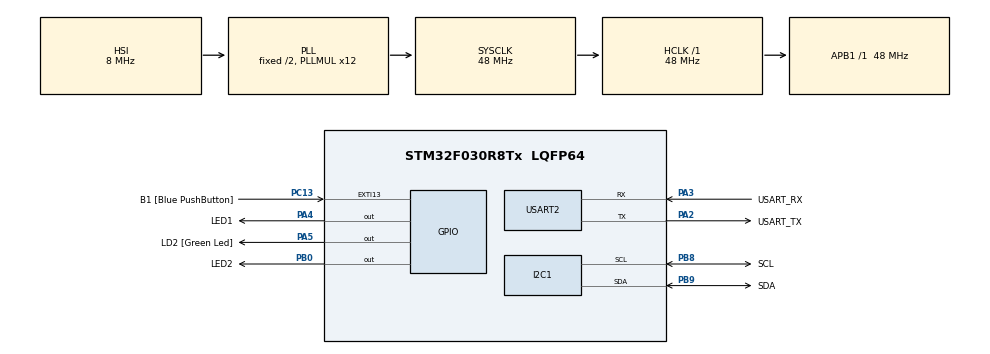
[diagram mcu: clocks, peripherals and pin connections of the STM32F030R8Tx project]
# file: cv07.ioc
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FREERTOS.Queues01=xVisualQueue,16,uint16_t,0,Dynamic,NULL,NULL
FREERTOS.Tasks01=defaultTask,0,128,StartDefaultTask,Default,NULL,Dynamic,NULL,NULL;VisualTask,0,128,StartVisualTask,Default,NULL,Dynamic,NULL,NULL;AcceleroTask,0,128,StartAcceleroTask,Default,NULL,Dynamic,NULL,NULL
FREERTOS.configUSE_NEWLIB_REENTRANT=1
Mcu.Family=STM32F0
Mcu.Name=STM32F030R8Tx
Mcu.Package=LQFP64
NVIC.TIM14_IRQn=true\:3\:0\:false\:false\:true\:false\:false\:true
NVIC.TimeBase=TIM14_IRQn
NVIC.TimeBaseIP=TIM14
PA13.GPIO_Label=TMS
PA13.Mode=Serial_Wire
PA13.Signal=SYS_SWDIO
PA14.GPIO_Label=TCK
PA14.Mode=Serial_Wire
PA14.Signal=SYS_SWCLK
PA2.GPIO_Label=USART_TX
PA2.GPIO_Mode=GPIO_MODE_AF_PP
PA2.GPIO_PuPd=GPIO_NOPULL
PA2.GPIO_Speed=GPIO_SPEED_FREQ_LOW
PA2.Mode=Asynchronous
PA2.Signal=USART2_TX
PA3.GPIO_Label=USART_RX
PA3.GPIO_Mode=GPIO_MODE_AF_PP
PA3.GPIO_PuPd=GPIO_NOPULL
PA3.GPIO_Speed=GPIO_SPEED_FREQ_LOW
PA3.Mode=Asynchronous
PA3.Signal=USART2_RX
PA4.GPIO_Label=LED1
PA4.Signal=GPIO_Output
PA5.GPIO_Label=LD2 [Green Led]
PA5.GPIO_Mode=GPIO_MODE_OUTPUT_PP
PA5.GPIO_PuPd=GPIO_NOPULL
PA5.GPIO_Speed=GPIO_SPEED_FREQ_LOW
PA5.Signal=GPIO_Output
PB0.GPIO_Label=LED2
PB0.Signal=GPIO_Output
PB8.GPIO_Label=SCL
PB8.Mode=I2C
PB8.Signal=I2C1_SCL
PB9.GPIO_Label=SDA
PB9.Mode=I2C
PB9.Signal=I2C1_SDA
PC13.GPIO_Label=B1 [Blue PushButton]
PC13.GPIO_ModeDefaultEXTI=GPIO_MODE_IT_FALLING
PC13.Signal=GPXTI13
PC14-OSC32_IN.Mode=LSE-External-Oscillator
PC14-OSC32_IN.Signal=RCC_OSC32_IN
PC15-OSC32_OUT.Mode=LSE-External-Oscillator
PC15-OSC32_OUT.Signal=RCC_OSC32_OUT
PF0-OSC_IN.Mode=HSE-External-Clock-Source
PF0-OSC_IN.Signal=RCC_OSC_IN
PF1-OSC_OUT.Signal=RCC_OSC_OUT
ProjectManager.HeapSize=0x200
ProjectManager.StackSize=0x400
ProjectManager.TargetToolchain=STM32CubeIDE
RCC.AHBFreq_Value=48000000
RCC.APB1Freq_Value=48000000
RCC.APB1TimFreq_Value=48000000
RCC.HCLKFreq_Value=48000000
RCC.PLLMUL=RCC_PLL_MUL12
RCC.SYSCLKFreq_VALUE=48000000
RCC.SYSCLKSource=RCC_SYSCLKSOURCE_PLLCLK
USART2.VirtualMode-Asynchronous=VM_ASYNC
VP_FREERTOS_VS_CMSIS_V1.Mode=CMSIS_V1
VP_SYS_VS_tim14.Mode=TIM14
board=NUCLEO-F030R8

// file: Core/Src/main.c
/* USER CODE BEGIN Header */
/**
 ******************************************************************************
 * @file           : main.c
 * @brief          : Main program body
 ******************************************************************************
 * @attention
 *
 * <h2><center>&copy; Copyright (c) 2021 STMicroelectronics.
 * All rights reserved.</center></h2>
 *
 * This software component is licensed by ST under BSD 3-Clause license,
 * the "License"; You may not use this file except in compliance with the
 * License. You may obtain a copy of the License at:
 *                        opensource.org/licenses/BSD-3-Clause
 *
 ******************************************************************************
 */
/* USER CODE END Header */
#include "main.h"
#include "cmsis_os.h"

/* USER CODE BEGIN Includes */
#include "lis2dw12_reg.h"
#include <stdio.h>
/* USER CODE END Includes */

I2C_HandleTypeDef hi2c1;

UART_HandleTypeDef huart2;

osThreadId defaultTaskHandle;
osThreadId VisualTaskHandle;
osThreadId AcceleroTaskHandle;
osMessageQId xVisualQueueHandle;

void SystemClock_Config(void);
static void MX_GPIO_Init(void);
static void MX_USART2_UART_Init(void);
static void MX_I2C1_Init(void);
void StartDefaultTask(void const * argument);
void StartVisualTask(void const * argument);
void StartAcceleroTask(void const * argument);

/* USER CODE BEGIN 0 */
static int32_t platform_write(void *handle, uint8_t reg, uint8_t *bufp, uint16_t len);
static int32_t platform_read(void *handle, uint8_t reg, uint8_t *bufp, uint16_t len);
static stmdev_ctx_t lis2dw12 = {
		.write_reg = platform_write,
		.read_reg = platform_read,
		.handle = &hi2c1,
};

static int32_t platform_write(void *handle, uint8_t reg, uint8_t *bufp, uint16_t len)
{
	HAL_I2C_Mem_Write(handle, LIS2DW12_I2C_ADD_H, reg, I2C_MEMADD_SIZE_8BIT, bufp, len, 1000);
	return 0;
}

static int32_t platform_read(void *handle, uint8_t reg, uint8_t *bufp, uint16_t len)
{
	HAL_I2C_Mem_Read(handle, LIS2DW12_I2C_ADD_H, reg, I2C_MEMADD_SIZE_8BIT, bufp, len, 1000);
	return 0;
}

int _write(int file, char const *buf, int n)
{
	/* stdout redirection to UART2 */
	HAL_UART_Transmit(&huart2, (uint8_t*)(buf), n, HAL_MAX_DELAY);
	return n;
}

/* USER CODE END 0 */

int main(void)
{

	/* MCU Configuration--------------------------------------------------------*/

	/* Reset of all peripherals, Initializes the Flash interface and the Systick. */
	HAL_Init();

	/* Configure the system clock */
	SystemClock_Config();

	/* Initialize all configured peripherals */
	MX_GPIO_Init();
	MX_USART2_UART_Init();
	MX_I2C1_Init();

	/* Create the queue(s) */
	/* definition and creation of xVisualQueue */
	osMessageQDef(xVisualQueue, 16, uint16_t);
	xVisualQueueHandle = osMessageCreate(osMessageQ(xVisualQueue), NULL);

	/* Create the thread(s) */
	/* definition and creation of defaultTask */
	osThreadDef(defaultTask, StartDefaultTask, osPriorityNormal, 0, 128);
	defaultTaskHandle = osThreadCreate(osThread(defaultTask), NULL);

	/* definition and creation of VisualTask */
	osThreadDef(VisualTask, StartVisualTask, osPriorityNormal, 0, 128);
	VisualTaskHandle = osThreadCreate(osThread(VisualTask), NULL);

	/* definition and creation of AcceleroTask */
	osThreadDef(AcceleroTask, StartAcceleroTask, osPriorityNormal, 0, 128);
	AcceleroTaskHandle = osThreadCreate(osThread(AcceleroTask), NULL);

	/* Start scheduler */
	osKernelStart();

	/* We should never get here as control is now taken by the scheduler */
	/* Infinite loop */
	while (1)
	{

	}
}

void SystemClock_Config(void)
{
	RCC_OscInitTypeDef RCC_OscInitStruct = {0};
	RCC_ClkInitTypeDef RCC_ClkInitStruct = {0};
	RCC_PeriphCLKInitTypeDef PeriphClkInit = {0};

	/** Initializes the RCC Oscillators according to the specified parameters
	 * in the RCC_OscInitTypeDef structure.
	 */
	RCC_OscInitStruct.OscillatorType = RCC_OSCILLATORTYPE_HSI;
	RCC_OscInitStruct.HSIState = RCC_HSI_ON;
	RCC_OscInitStruct.HSICalibrationValue = RCC_HSICALIBRATION_DEFAULT;
	RCC_OscInitStruct.PLL.PLLState = RCC_PLL_ON;
	RCC_OscInitStruct.PLL.PLLSource = RCC_PLLSOURCE_HSI;
	RCC_OscInitStruct.PLL.PLLMUL = RCC_PLL_MUL12;
	RCC_OscInitStruct.PLL.PREDIV = RCC_PREDIV_DIV1;
	if (HAL_RCC_OscConfig(&RCC_OscInitStruct) != HAL_OK)
	{
		Error_Handler();
	}
	/** Initializes the CPU, AHB and APB buses clocks
	 */
	RCC_ClkInitStruct.ClockType = RCC_CLOCKTYPE_HCLK|RCC_CLOCKTYPE_SYSCLK
			|RCC_CLOCKTYPE_PCLK1;
	RCC_ClkInitStruct.SYSCLKSource = RCC_SYSCLKSOURCE_PLLCLK;
	RCC_ClkInitStruct.AHBCLKDivider = RCC_SYSCLK_DIV1;
	RCC_ClkInitStruct.APB1CLKDivider = RCC_HCLK_DIV1;

	if (HAL_RCC_ClockConfig(&RCC_ClkInitStruct, FLASH_LATENCY_1) != HAL_OK)
	{
		Error_Handler();
	}
	PeriphClkInit.PeriphClockSelection = RCC_PERIPHCLK_I2C1;
	PeriphClkInit.I2c1ClockSelection = RCC_I2C1CLKSOURCE_HSI;
	if (HAL_RCCEx_PeriphCLKConfig(&PeriphClkInit) != HAL_OK)
	{
		Error_Handler();
	}
}

static void MX_I2C1_Init(void)
{

	hi2c1.Instance = I2C1;
	hi2c1.Init.Timing = 0x2000090E;
	hi2c1.Init.OwnAddress1 = 0;
	hi2c1.Init.AddressingMode = I2C_ADDRESSINGMODE_7BIT;
	hi2c1.Init.DualAddressMode = I2C_DUALADDRESS_DISABLE;
	hi2c1.Init.OwnAddress2 = 0;
	hi2c1.Init.OwnAddress2Masks = I2C_OA2_NOMASK;
	hi2c1.Init.GeneralCallMode = I2C_GENERALCALL_DISABLE;
	hi2c1.Init.NoStretchMode = I2C_NOSTRETCH_DISABLE;
	if (HAL_I2C_Init(&hi2c1) != HAL_OK)
	{
		Error_Handler();
	}
	/** Configure Analogue filter
	 */
	if (HAL_I2CEx_ConfigAnalogFilter(&hi2c1, I2C_ANALOGFILTER_ENABLE) != HAL_OK)
	{
		Error_Handler();
	}
	/** Configure Digital filter
	 */
	if (HAL_I2CEx_ConfigDigitalFilter(&hi2c1, 0) != HAL_OK)
	{
		Error_Handler();
	}

}

static void MX_USART2_UART_Init(void)
{

	huart2.Instance = USART2;
	huart2.Init.BaudRate = 38400;
	huart2.Init.WordLength = UART_WORDLENGTH_8B;
	huart2.Init.StopBits = UART_STOPBITS_1;
	huart2.Init.Parity = UART_PARITY_NONE;
	huart2.Init.Mode = UART_MODE_TX_RX;
	huart2.Init.HwFlowCtl = UART_HWCONTROL_NONE;
	huart2.Init.OverSampling = UART_OVERSAMPLING_16;
	huart2.Init.OneBitSampling = UART_ONE_BIT_SAMPLE_DISABLE;
	huart2.AdvancedInit.AdvFeatureInit = UART_ADVFEATURE_NO_INIT;
	if (HAL_UART_Init(&huart2) != HAL_OK)
	{
		Error_Handler();
	}

}

static void MX_GPIO_Init(void)
{
	GPIO_InitTypeDef GPIO_InitStruct = {0};

	/* GPIO Ports Clock Enable */
	__HAL_RCC_GPIOC_CLK_ENABLE();
	__HAL_RCC_GPIOF_CLK_ENABLE();
	__HAL_RCC_GPIOA_CLK_ENABLE();
	__HAL_RCC_GPIOB_CLK_ENABLE();

	/*Configure GPIO pin Output Level */
	HAL_GPIO_WritePin(GPIOA, LED1_Pin|LD2_Pin, GPIO_PIN_RESET);

	/*Configure GPIO pin Output Level */
	HAL_GPIO_WritePin(LED2_GPIO_Port, LED2_Pin, GPIO_PIN_RESET);

	/*Configure GPIO pin : B1_Pin */
	GPIO_InitStruct.Pin = B1_Pin;
	GPIO_InitStruct.Mode = GPIO_MODE_IT_FALLING;
	GPIO_InitStruct.Pull = GPIO_NOPULL;
	HAL_GPIO_Init(B1_GPIO_Port, &GPIO_InitStruct);

	/*Configure GPIO pins : LED1_Pin LD2_Pin */
	GPIO_InitStruct.Pin = LED1_Pin|LD2_Pin;
	GPIO_InitStruct.Mode = GPIO_MODE_OUTPUT_PP;
	GPIO_InitStruct.Pull = GPIO_NOPULL;
	GPIO_InitStruct.Speed = GPIO_SPEED_FREQ_LOW;
	HAL_GPIO_Init(GPIOA, &GPIO_InitStruct);

	/*Configure GPIO pin : LED2_Pin */
	GPIO_InitStruct.Pin = LED2_Pin;
	GPIO_InitStruct.Mode = GPIO_MODE_OUTPUT_PP;
	GPIO_InitStruct.Pull = GPIO_NOPULL;
	GPIO_InitStruct.Speed = GPIO_SPEED_FREQ_LOW;
	HAL_GPIO_Init(LED2_GPIO_Port, &GPIO_InitStruct);

}

void StartDefaultTask(void const * argument)
{
	for(;;)
	{
		osDelay(1);
	}
}

void StartVisualTask(void const * argument)
{
	/* USER CODE BEGIN StartVisualTask */
	int16_t msg;
	/* Infinite loop */
	for(;;)
	{
		if (xQueueReceive(xVisualQueueHandle, &msg, portMAX_DELAY)) {
			if (msg < -1000){
				HAL_GPIO_WritePin(LED2_GPIO_Port, LED2_Pin, GPIO_PIN_RESET);  // vypnuti led 2
				HAL_GPIO_WritePin(LED1_GPIO_Port, LED1_Pin, GPIO_PIN_SET);	  // zapnuti led 1
			}
			else if (msg > 1000){
				HAL_GPIO_WritePin(LED1_GPIO_Port, LED1_Pin, GPIO_PIN_RESET);  // vypnuti led 1
				HAL_GPIO_WritePin(LED2_GPIO_Port, LED2_Pin, GPIO_PIN_SET);	  // zapnuti led 2
			}
			else {
				HAL_GPIO_WritePin(LED1_GPIO_Port, LED1_Pin, GPIO_PIN_RESET);   // vypnuti led 1
				HAL_GPIO_WritePin(LED2_GPIO_Port, LED2_Pin, GPIO_PIN_RESET);   // vypnuti led 2
			}
		}
	}
	/* USER CODE END StartVisualTask */
}

void StartAcceleroTask(void const * argument)
{
	/* USER CODE BEGIN StartAcceleroTask */
	int16_t msg;
	int32_t last_time;
	// Check device ID
	uint8_t whoamI = 0;
	lis2dw12_device_id_get(&lis2dw12, &whoamI);
	printf("LIS2DW12_ID %s\n", (whoamI == LIS2DW12_ID) ? "OK" : "FAIL");

	// Inicializace akcelerometru

	lis2dw12_full_scale_set(&lis2dw12, LIS2DW12_2g);
	lis2dw12_power_mode_set(&lis2dw12, LIS2DW12_CONT_LOW_PWR_LOW_NOISE_2);
	lis2dw12_block_data_update_set(&lis2dw12, PROPERTY_ENABLE);
	lis2dw12_fifo_mode_set(&lis2dw12, LIS2DW12_STREAM_MODE); // enable continuous FIFO
	lis2dw12_data_rate_set(&lis2dw12, LIS2DW12_XL_ODR_25Hz); // enable part from power-down

	/* Infinite loop */
	for(;;)
	{
		/*msg = 0;
		xQueueSend(xVisualQueueHandle, &msg, 0);
		osDelay(300);

		msg = -5000;
		xQueueSend(xVisualQueueHandle, &msg, 0);
		osDelay(300);

		msg = 0;
		xQueueSend(xVisualQueueHandle, &msg, 0);
		osDelay(300);

		msg = 5000;
		xQueueSend(xVisualQueueHandle, &msg, 0);
		osDelay(300);*/

		uint8_t samples;
		int16_t raw_acceleration[3];
		lis2dw12_fifo_data_level_get(&lis2dw12, &samples);
		for (uint8_t i = 0; i < samples; i++) {
			// Read acceleration data
			lis2dw12_acceleration_raw_get(&lis2dw12, raw_acceleration);
			// Odeslání dat do UARTu 1x za 1 s
			if(HAL_GetTick() - last_time > 1000){
				printf("X=%d Y=%d Z=%d\n", raw_acceleration[0], raw_acceleration[1], raw_acceleration[2]);
				last_time = HAL_GetTick();
			}
		}

		// Odeslaní dat do pro změnu ledek 1x za 50 ms
		msg = raw_acceleration[0];
		xQueueSend(xVisualQueueHandle, &msg, 0);
		osDelay(50);
	}
	/* USER CODE END StartAcceleroTask */
}

void HAL_TIM_PeriodElapsedCallback(TIM_HandleTypeDef *htim)
{
	if (htim->Instance == TIM14) {
		HAL_IncTick();
	}
}

void Error_Handler(void)
{
	__disable_irq();
	while (1)
	{
	}
}

/************************ (C) COPYRIGHT STMicroelectronics *****END OF FILE****/
